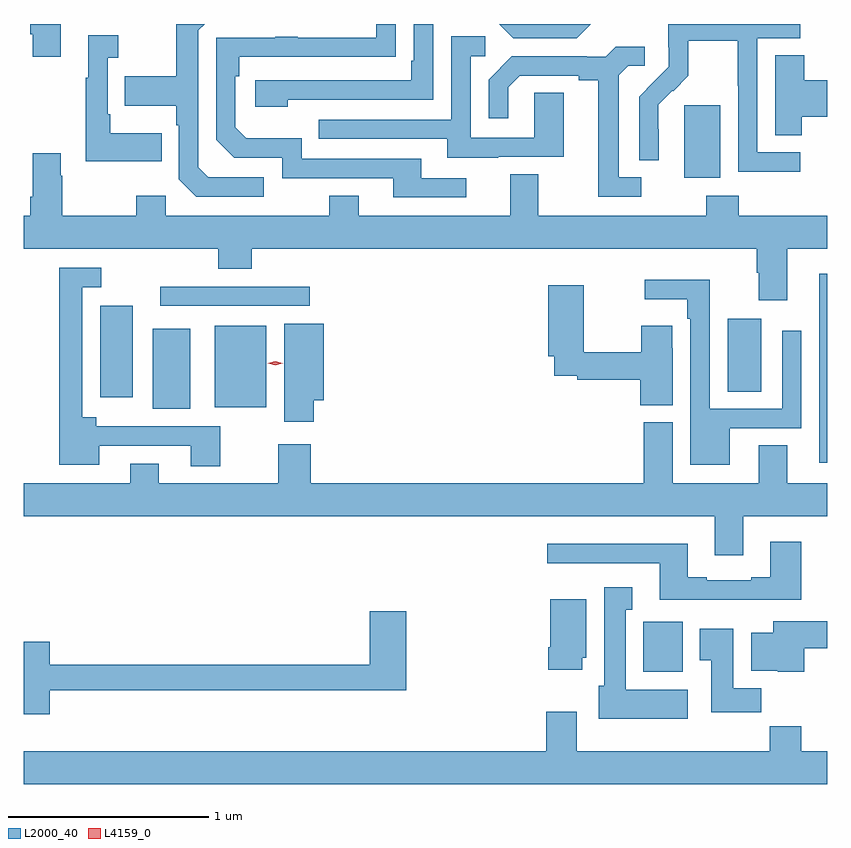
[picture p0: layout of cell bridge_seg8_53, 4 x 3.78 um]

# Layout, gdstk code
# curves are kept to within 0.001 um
import gdstk
lib = gdstk.Library(unit=1e-6, precision=1e-09)
def R(c, l, rs):  # rectangles x0, y0, x1, y1
    for r in rs: c.add(gdstk.rectangle(r[:2], r[2:], *l))
def P(c, l, *ps):  # polygons
    for p in ps: c.add(gdstk.Polygon(p, *l))
L2000_40 = (2000, 40)
L4159_0 = (4159, 0)

bridge_seg8_53 = lib.new_cell('bridge_seg8_53')
R(bridge_seg8_53, L2000_40, [(1086.441,1105.07,1086.637,1105.32), (1087.316,1106.112,1087.356,1107.052), (1083.998,1106.381,1084.186,1106.779), (1084.307,1106.387,1084.564,1106.794), (1083.737,1106.436,1083.898,1106.893), (1086.86,1106.464,1087.027,1106.827), (1084.035,1106.892,1084.78,1106.988), (1086.644,1107.53,1086.823,1107.891)])
P(bridge_seg8_53, L2000_40, [(1087.222,1107.657),(1087.008,1107.657),(1087.008,1108.224),(1087.222,1108.224),(1087.222,1108.295),(1086.564,1108.295),(1086.564,1108.179),(1086.566,1108.179),(1086.566,1108.082),(1086.42,1107.934),(1086.42,1107.616),(1086.516,1107.616),(1086.515,1107.893),(1086.585,1107.963),(1086.588,1107.96),(1086.665,1108.037),(1086.665,1108.212),(1086.91,1108.212),(1086.91,1107.988),(1086.912,1107.988),(1086.912,1107.559),(1087.222,1107.559)],
  [(1086.179,1108.295),(1085.722,1108.295),(1085.793,1108.224),(1086.108,1108.224)],
  [(1084.67,1107.918),(1085.394,1107.918),(1085.394,1108.295),(1085.298,1108.295),(1085.298,1108.111),(1085.285,1108.111),(1085.285,1108.014),(1084.509,1108.014),(1084.509,1107.884),(1084.67,1107.884)],
  [(1085.56,1107.528),(1085.335,1107.528),(1085.335,1107.624),(1084.74,1107.624),(1084.74,1107.727),(1084.463,1107.727),(1084.41,1107.78),(1084.41,1108.034),(1084.43,1108.034),(1084.43,1108.131),(1085.207,1108.132),(1085.207,1108.295),(1085.111,1108.295),(1085.111,1108.227),(1084.721,1108.227),(1084.721,1108.232),(1084.609,1108.232),(1084.609,1108.227),(1084.314,1108.227),(1084.314,1107.72),(1084.404,1107.63),(1084.644,1107.63),(1084.644,1107.528),(1085.195,1107.528),(1085.195,1107.432),(1085.56,1107.432)],
  [(1084.552,1107.531),(1084.275,1107.531),(1084.224,1107.582),(1084.224,1108.263),(1084.256,1108.295),(1084.116,1108.295),(1084.116,1108.035),(1083.859,1108.035),(1083.859,1107.887),(1084.116,1107.887),(1084.116,1107.791),(1084.128,1107.791),(1084.128,1107.522),(1084.215,1107.435),(1084.552,1107.435)],
  [(1083.541,1108.295),(1083.389,1108.295),(1083.389,1108.243),(1083.401,1108.243),(1083.401,1108.131),(1083.541,1108.131)],
  [(1084.043,1107.751),(1083.787,1107.751),(1083.787,1107.847),(1083.774,1107.847),(1083.774,1108.127),(1083.826,1108.127),(1083.826,1108.24),(1083.677,1108.24),(1083.677,1108.027),(1083.666,1108.027),(1083.666,1107.611),(1084.043,1107.611)],
  [(1085.719,1107.633),(1086.043,1107.633),(1086.043,1107.953),(1085.898,1107.953),(1085.898,1107.729),(1085.58,1107.729),(1085.58,1108.134),(1085.653,1108.134),(1085.653,1108.235),(1085.484,1108.235),(1085.484,1107.819),(1084.825,1107.819),(1084.825,1107.723),(1085.465,1107.723),(1085.465,1107.629),(1085.719,1107.629)],
  [(1086.43,1107.531),(1086.319,1107.531),(1086.319,1108.039),(1086.366,1108.086),(1086.448,1108.086),(1086.448,1108.183),(1086.304,1108.183),(1086.252,1108.131),(1086.158,1108.131),(1086.158,1108.134),(1085.786,1108.134),(1085.67,1108.018),(1085.67,1107.825),(1085.767,1107.825),(1085.767,1107.981),(1085.824,1108.038),(1086.119,1108.038),(1086.119,1108.016),(1086.215,1108.016),(1086.215,1107.435),(1086.43,1107.435)],
  [(1087.228,1107.833),(1087.356,1107.833),(1087.356,1108.016),(1087.241,1108.016),(1087.241,1108.139),(1087.097,1108.139),(1087.097,1107.742),(1087.228,1107.742)],
  [(1086.914,1107.439),(1086.754,1107.439),(1086.754,1107.34),(1085.917,1107.34),(1085.917,1107.548),(1085.777,1107.548),(1085.777,1107.34),(1085.023,1107.34),(1085.023,1107.439),(1084.876,1107.439),(1084.876,1107.34),(1084.062,1107.34),(1084.062,1107.439),(1083.916,1107.439),(1083.916,1107.34),(1083.549,1107.34),(1083.549,1107.539),(1083.541,1107.539),(1083.541,1107.652),(1083.401,1107.652),(1083.401,1107.436),(1083.389,1107.436),(1083.389,1107.34),(1083.356,1107.34),(1083.356,1107.176),(1084.325,1107.176),(1084.325,1107.077),(1084.49,1107.077),(1084.49,1107.176),(1087.004,1107.176),(1087.004,1107.056),(1087.016,1107.056),(1087.016,1106.919),(1087.156,1106.919),(1087.156,1107.176),(1087.356,1107.176),(1087.356,1107.34),(1086.914,1107.34)],
  [(1084.335,1106.292),(1083.718,1106.292),(1083.718,1106.338),(1083.648,1106.338),(1083.648,1106.984),(1083.742,1106.984),(1083.742,1107.081),(1083.532,1107.081),(1083.532,1106.102),(1083.733,1106.102),(1083.733,1106.196),(1084.187,1106.196),(1084.187,1106.094),(1084.335,1106.094)],
  [(1086.871,1106.283),(1087.227,1106.283),(1087.227,1106.767),(1087.131,1106.767),(1087.131,1106.379),(1086.771,1106.379),(1086.771,1107.022),(1086.447,1107.022),(1086.447,1106.924),(1086.659,1106.924),(1086.659,1106.828),(1086.675,1106.828),(1086.675,1106.102),(1086.871,1106.102)],
  [(1086.586,1106.681),(1086.585,1106.681),(1086.585,1106.794),(1086.43,1106.794),(1086.43,1106.66),(1086.144,1106.66),(1086.144,1106.995),(1085.966,1106.995),(1085.966,1106.642),(1085.996,1106.642),(1085.996,1106.544),(1086.112,1106.544),(1086.112,1106.524),(1086.425,1106.524),(1086.425,1106.398),(1086.586,1106.398)],
  [(1084.799,1106.423),(1084.849,1106.423),(1084.849,1106.803),(1084.652,1106.803),(1084.652,1106.316),(1084.799,1106.316)],
  [(1086.937,1105.844),(1087.356,1105.844),(1087.356,1106.008),(1087.156,1106.008),(1087.156,1106.198),(1087.016,1106.198),(1087.016,1106.008),(1086.586,1106.008),(1086.586,1106.313),(1086.443,1106.313),(1086.443,1106.008),(1084.784,1106.008),(1084.784,1106.203),(1084.624,1106.203),(1084.624,1106.008),(1084.027,1106.008),(1084.027,1106.107),(1083.887,1106.107),(1083.887,1106.008),(1083.356,1106.008),(1083.356,1105.844),(1086.797,1105.844),(1086.797,1105.65),(1086.937,1105.65)],
  [(1087.226,1105.717),(1087.073,1105.717),(1087.073,1105.54),(1086.977,1105.54),(1086.977,1105.527),(1086.757,1105.527),(1086.757,1105.54),(1086.661,1105.54),(1086.661,1105.708),(1085.961,1105.708),(1085.961,1105.611),(1086.521,1105.611),(1086.521,1105.43),(1087.226,1105.43)],
  [(1086.661,1104.982),(1086.352,1104.982),(1086.352,1105.379),(1086.385,1105.379),(1086.385,1105.492),(1086.245,1105.492),(1086.245,1105.002),(1086.218,1105.002),(1086.218,1104.836),(1086.661,1104.836)],
  [(1086.136,1105.14),(1086.157,1105.14),(1086.157,1105.432),(1085.978,1105.432),(1085.978,1105.192),(1085.966,1105.192),(1085.966,1105.08),(1086.136,1105.08)],
  [(1083.485,1104.978),(1085.261,1104.978),(1085.261,1105.372),(1085.078,1105.372),(1085.078,1105.106),(1083.485,1105.106),(1083.485,1105.219),(1083.356,1105.219),(1083.356,1104.858),(1083.485,1104.858)],
  [(1087.241,1105.187),(1087.356,1105.187),(1087.356,1105.321),(1087.088,1105.321),(1087.088,1105.264),(1086.977,1105.264),(1086.977,1105.076),(1087.11,1105.076),(1087.11,1105.07),(1087.241,1105.07)],
  [(1087.028,1104.988),(1086.889,1104.988),(1086.889,1105.285),(1086.722,1105.285),(1086.722,1105.129),(1086.779,1105.129),(1086.779,1104.87),(1087.028,1104.87)],
  [(1087.356,1104.676),(1087.226,1104.676),(1087.226,1104.8),(1087.069,1104.8),(1087.069,1104.676),(1086.109,1104.676),(1086.109,1104.871),(1085.957,1104.871),(1085.957,1104.676),(1083.356,1104.676),(1083.356,1104.512),(1087.356,1104.512)])
P(bridge_seg8_53, L4159_0, [(1084.608,1106.596),(1084.572,1106.606),(1084.572,1106.606),(1084.572,1106.606),(1084.608,1106.616),(1084.645,1106.606),(1084.645,1106.606),(1084.645,1106.606)])

lib.write_gds('bridge_seg8_53.gds')
